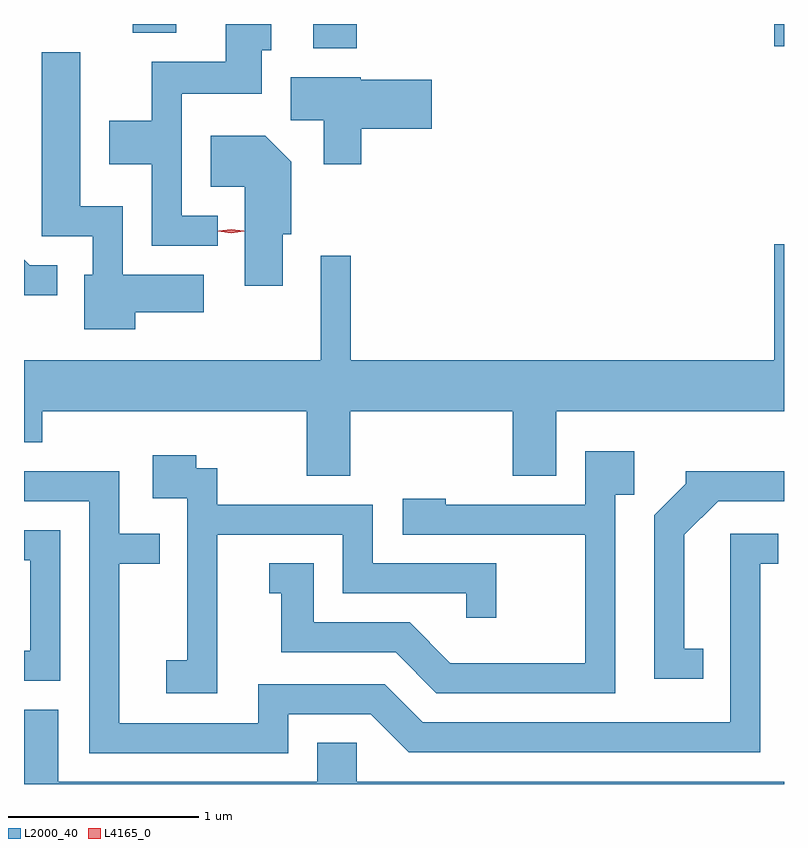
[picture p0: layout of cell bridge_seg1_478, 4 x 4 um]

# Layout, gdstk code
import gdstk
lib = gdstk.Library(unit=1e-6, precision=1e-09)
def R(c, l, rs):  # rectangles x0, y0, x1, y1
    for r in rs: c.add(gdstk.rectangle(r[:2], r[2:], *l))
def P(c, l, *ps):  # polygons
    for p in ps: c.add(gdstk.Polygon(p, *l))
L2000_40 = (2000, 40)
L4165_0 = (4165, 0)

bridge_seg1_478 = lib.new_cell('bridge_seg1_478')
R(bridge_seg1_478, L2000_40, [(472.391,872.626,472.619,872.753), (474.816,872.636,474.868,872.753), (471.441,872.706,471.669,872.753)])
P(bridge_seg1_478, L2000_40, [(471.888,871.744),(471.699,871.744),(471.699,872.386),(472.119,872.386),(472.119,872.616),(472.168,872.616),(472.168,872.753),(471.931,872.753),(471.931,872.554),(471.541,872.554),(471.541,872.244),(471.316,872.244),(471.316,872.016),(471.541,872.016),(471.541,871.586),(471.888,871.586)],
  [(471.454,871.236),(471.814,871.236),(471.814,871.434),(471.389,871.434),(471.389,871.794),(471.164,871.794),(471.164,872.604),(470.961,872.604),(470.961,871.636),(471.231,871.636),(471.231,871.434),(471.186,871.434),(471.186,871.146),(471.454,871.146)],
  [(472.644,872.201),(473.014,872.201),(473.014,872.459),(472.64,872.459),(472.64,872.474),(472.271,872.474),(472.271,872.246),(472.446,872.246),(472.446,872.016),(472.644,872.016)],
  [(472.229,871.646),(472.274,871.646),(472.274,872.027),(472.137,872.164),(471.851,872.164),(471.851,871.896),(472.031,871.896),(472.031,871.376),(472.229,871.376)],
  [(472.584,870.716),(473.441,870.716),(473.441,870.376),(473.669,870.376),(473.669,870.716),(474.868,870.716),(474.868,871.594),(474.816,871.594),(474.816,870.984),(472.589,870.984),(472.589,871.533),(472.431,871.533),(472.431,870.984),(470.868,870.984),(470.868,870.551),(470.964,870.551),(470.964,870.716),(472.356,870.716),(472.356,870.376),(472.584,870.376)],
  [(471.043,871.484),(470.897,871.484),(470.868,871.513),(470.868,871.326),(471.043,871.326)],
  [(473.979,870.276),(474.079,870.276),(474.079,870.504),(473.821,870.504),(473.821,870.224),(473.089,870.224),(473.089,870.254),(472.861,870.254),(472.861,870.066),(473.821,870.066),(473.821,869.389),(473.112,869.389),(472.897,869.604),(472.394,869.604),(472.394,869.914),(472.158,869.914),(472.158,869.756),(472.221,869.756),(472.221,869.446),(472.824,869.446),(473.039,869.231),(473.979,869.231)],
  [(471.884,870.066),(472.546,870.066),(472.546,869.756),(473.196,869.756),(473.196,869.628),(473.354,869.628),(473.354,869.914),(472.704,869.914),(472.704,870.224),(471.884,870.224),(471.884,870.414),(471.774,870.414),(471.774,870.484),(471.546,870.484),(471.546,870.256),(471.726,870.256),(471.726,869.404),(471.616,869.404),(471.616,869.231),(471.884,869.231)],
  [(474.443,869.464),(474.344,869.464),(474.344,870.064),(474.522,870.241),(474.868,870.241),(474.868,870.399),(474.351,870.399),(474.351,870.332),(474.186,870.167),(474.186,869.306),(474.443,869.306)],
  [(472.259,869.121),(472.694,869.121),(472.894,868.921),(474.744,868.921),(474.744,869.911),(474.838,869.911),(474.838,870.069),(474.586,870.069),(474.586,869.079),(472.967,869.079),(472.767,869.279),(472.101,869.279),(472.101,869.074),(471.369,869.074),(471.369,869.911),(471.583,869.911),(471.583,870.069),(471.369,870.069),(471.369,870.399),(470.868,870.399),(470.868,870.241),(471.211,870.241),(471.211,868.916),(472.259,868.916)],
  [(471.059,870.089),(470.868,870.089),(470.868,869.931),(470.901,869.931),(470.901,869.454),(470.868,869.454),(470.868,869.296),(471.059,869.296)],
  [(474.868,868.764),(472.619,868.764),(472.619,868.969),(472.411,868.969),(472.411,868.764),(471.049,868.764),(471.049,869.144),(470.868,869.144),(470.868,868.753),(474.868,868.753)])
P(bridge_seg1_478, L4165_0, [(471.958,871.654),(471.892,871.663),(471.892,871.664),(471.892,871.664),(471.958,871.674),(472.025,871.664),(472.025,871.664),(472.025,871.663)],
  [(471.958,871.653),(471.889,871.662),(471.888,871.663),(471.889,871.663),(471.958,871.673),(472.027,871.663),(472.028,871.663),(472.027,871.662)])

lib.write_gds('bridge_seg1_478.gds')
